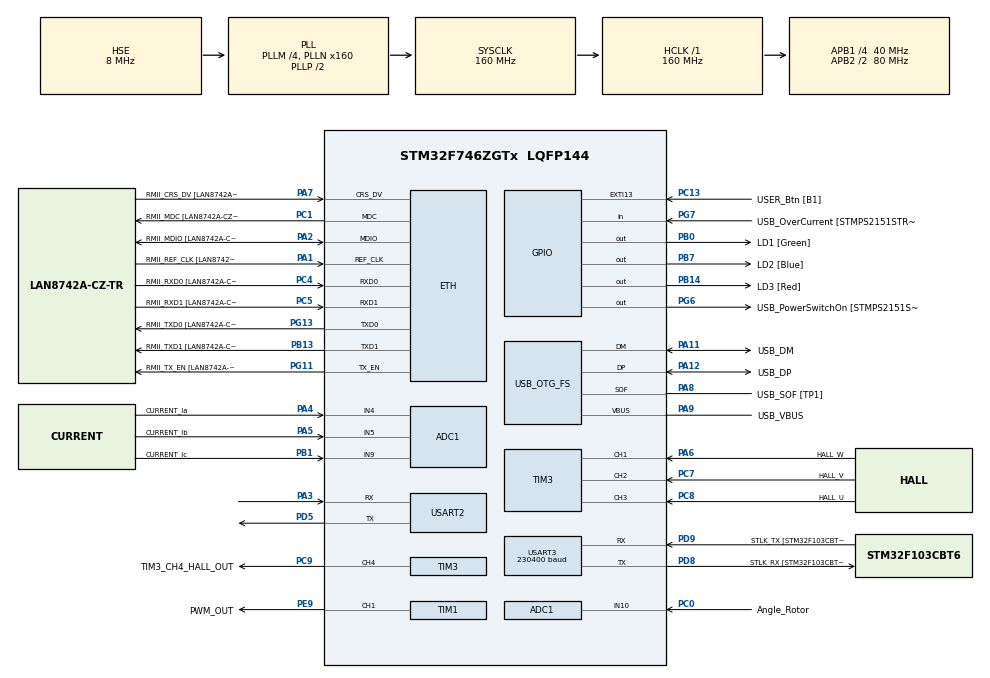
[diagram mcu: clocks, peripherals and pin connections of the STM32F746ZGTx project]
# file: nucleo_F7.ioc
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ADC1.Channel-0\#ChannelRegularConversion=ADC_CHANNEL_4
ADC1.Channel-4\#ChannelRegularConversion=ADC_CHANNEL_5
ADC1.Channel-5\#ChannelRegularConversion=ADC_CHANNEL_9
ADC1.Channel-6\#ChannelRegularConversion=ADC_CHANNEL_10
ADC1.ContinuousConvMode=DISABLE
ADC1.DMAContinuousRequests=ENABLE
ADC1.EOCSelection=ADC_EOC_SEQ_CONV
ADC1.ExternalTrigConv=ADC_EXTERNALTRIGCONV_T1_TRGO
ADC1.ExternalTrigConvEdge=ADC_EXTERNALTRIGCONVEDGE_RISINGFALLING
ADC1.NbrOfConversion=4
ADC1.NbrOfConversionFlag=1
ADC1.Rank-0\#ChannelRegularConversion=1
ADC1.Rank-4\#ChannelRegularConversion=2
ADC1.Rank-5\#ChannelRegularConversion=3
ADC1.Rank-6\#ChannelRegularConversion=4
ADC1.SamplingTime-0\#ChannelRegularConversion=ADC_SAMPLETIME_56CYCLES
ADC1.SamplingTime-4\#ChannelRegularConversion=ADC_SAMPLETIME_56CYCLES
ADC1.SamplingTime-5\#ChannelRegularConversion=ADC_SAMPLETIME_56CYCLES
ADC1.SamplingTime-6\#ChannelRegularConversion=ADC_SAMPLETIME_56CYCLES
ADC1.ScanConvMode=ADC_SCAN_ENABLE
ADC1.master=1
ARM.CMSIS.5.6.0.CMSISJjDSP=Library
Dma.ADC1.0.Direction=DMA_PERIPH_TO_MEMORY
Dma.ADC1.0.FIFOMode=DMA_FIFOMODE_DISABLE
Dma.ADC1.0.Instance=DMA2_Stream0
Dma.ADC1.0.MemDataAlignment=DMA_MDATAALIGN_HALFWORD
Dma.ADC1.0.MemInc=DMA_MINC_ENABLE
Dma.ADC1.0.Mode=DMA_CIRCULAR
Dma.ADC1.0.PeriphDataAlignment=DMA_PDATAALIGN_HALFWORD
Dma.ADC1.0.PeriphInc=DMA_PINC_DISABLE
Dma.ADC1.0.Priority=DMA_PRIORITY_MEDIUM
Dma.Request0=ADC1
Dma.Request1=USART3_TX
Dma.Request2=USART2_TX
Dma.USART2_TX.2.Direction=DMA_MEMORY_TO_PERIPH
Dma.USART2_TX.2.FIFOMode=DMA_FIFOMODE_DISABLE
Dma.USART2_TX.2.Instance=DMA1_Stream6
Dma.USART2_TX.2.MemDataAlignment=DMA_MDATAALIGN_BYTE
Dma.USART2_TX.2.MemInc=DMA_MINC_ENABLE
Dma.USART2_TX.2.Mode=DMA_NORMAL
Dma.USART2_TX.2.PeriphDataAlignment=DMA_PDATAALIGN_BYTE
Dma.USART2_TX.2.PeriphInc=DMA_PINC_DISABLE
Dma.USART2_TX.2.Priority=DMA_PRIORITY_LOW
Dma.USART3_TX.1.Direction=DMA_MEMORY_TO_PERIPH
Dma.USART3_TX.1.FIFOMode=DMA_FIFOMODE_DISABLE
Dma.USART3_TX.1.Instance=DMA1_Stream3
Dma.USART3_TX.1.MemDataAlignment=DMA_MDATAALIGN_BYTE
Dma.USART3_TX.1.MemInc=DMA_MINC_ENABLE
Dma.USART3_TX.1.Mode=DMA_NORMAL
Dma.USART3_TX.1.PeriphDataAlignment=DMA_PDATAALIGN_BYTE
Dma.USART3_TX.1.PeriphInc=DMA_PINC_DISABLE
Dma.USART3_TX.1.Priority=DMA_PRIORITY_LOW
ETH.MediaInterface=ETH_MEDIA_INTERFACE_RMII
ETH.PHY_Name=LAN8742A_PHY_ADDRESS
ETH.PHY_Value=0
ETH.PhyAddress=0
Mcu.Family=STM32F7
Mcu.Name=STM32F746ZGTx
Mcu.Package=LQFP144
NVIC.ADC_IRQn=true\:1\:0\:true\:false\:true\:true\:true
NVIC.DMA1_Stream3_IRQn=true\:4\:0\:true\:false\:true\:false\:true
NVIC.DMA1_Stream6_IRQn=true\:0\:0\:false\:false\:true\:false\:true
NVIC.DMA2_Stream0_IRQn=true\:2\:0\:true\:false\:true\:false\:true
NVIC.EXTI15_10_IRQn=true\:10\:0\:true\:false\:true\:true\:true
NVIC.PriorityGroup=NVIC_PRIORITYGROUP_4
NVIC.TIM1_TRG_COM_TIM11_IRQn=true\:5\:0\:true\:false\:true\:true\:true
NVIC.TIM1_UP_TIM10_IRQn=true\:3\:0\:true\:false\:true\:true\:true
NVIC.USART2_IRQn=true\:8\:0\:true\:false\:true\:true\:true
NVIC.USART3_IRQn=true\:9\:0\:true\:false\:true\:true\:true
PA1.GPIO_Label=RMII_REF_CLK [LAN8742A-CZ-TR_REFCLK0]
PA1.Mode=RMII
PA1.Signal=ETH_REF_CLK
PA10.GPIO_Label=USB_ID
PA10.Signal=USB_OTG_FS_ID
PA11.GPIO_Label=USB_DM
PA11.Mode=Device_Only
PA11.Signal=USB_OTG_FS_DM
PA12.GPIO_Label=USB_DP
PA12.Mode=Device_Only
PA12.Signal=USB_OTG_FS_DP
PA13.GPIO_Label=TMS
PA13.Mode=Serial_Wire
PA13.Signal=SYS_JTMS-SWDIO
PA14.GPIO_Label=TCK
PA14.Mode=Serial_Wire
PA14.Signal=SYS_JTCK-SWCLK
PA2.GPIO_Label=RMII_MDIO [LAN8742A-CZ-TR_MDIO]
PA2.Mode=RMII
PA2.Signal=ETH_MDIO
PA3.Mode=Asynchronous
PA3.Signal=USART2_RX
PA4.GPIO_Label=CURRENT_Ia
PA4.Signal=ADCx_IN4
PA5.GPIO_Label=CURRENT_Ib
PA5.Signal=ADCx_IN5
PA6.GPIO_Label=HALL_W
PA6.GPIO_PuPd=GPIO_PULLUP
PA6.GPIO_Speed=GPIO_SPEED_FREQ_HIGH
PA6.Signal=S_TIM3_CH1
PA7.GPIO_Label=RMII_CRS_DV [LAN8742A-CZ-TR_CRS_DV]
PA7.Mode=RMII
PA7.Signal=ETH_CRS_DV
PA8.GPIO_Label=USB_SOF [TP1]
PA8.Mode=Activate_SOF_FS
PA8.Signal=USB_OTG_FS_SOF
PA9.GPIO_Label=USB_VBUS
PA9.Mode=Activate_VBUS
PA9.Signal=USB_OTG_FS_VBUS
PB0.GPIO_Label=LD1 [Green]
PB0.Signal=GPIO_Output
PB1.GPIO_Label=CURRENT_Ic
PB1.Signal=ADCx_IN9
PB13.GPIO_Label=RMII_TXD1 [LAN8742A-CZ-TR_TXD1]
PB13.Mode=RMII
PB13.Signal=ETH_TXD1
PB14.GPIO_Label=LD3 [Red]
PB14.Signal=GPIO_Output
PB3.GPIO_Label=SW0
PB3.Signal=SYS_JTDO-SWO
PB7.GPIO_Label=LD2 [Blue]
PB7.Signal=GPIO_Output
PC0.GPIO_Label=Angle_Rotor
PC0.Signal=ADCx_IN10
PC1.GPIO_Label=RMII_MDC [LAN8742A-CZ-TR_MDC]
PC1.Mode=RMII
PC1.Signal=ETH_MDC
PC13.GPIO_Label=USER_Btn [B1]
PC13.Signal=GPXTI13
PC14/OSC32_IN.Mode=LSE-External-Oscillator
PC14/OSC32_IN.Signal=RCC_OSC32_IN
PC15/OSC32_OUT.Mode=LSE-External-Oscillator
PC15/OSC32_OUT.Signal=RCC_OSC32_OUT
PC4.GPIO_Label=RMII_RXD0 [LAN8742A-CZ-TR_RXD0]
PC4.Mode=RMII
PC4.Signal=ETH_RXD0
PC5.GPIO_Label=RMII_RXD1 [LAN8742A-CZ-TR_RXD1]
PC5.Mode=RMII
PC5.Signal=ETH_RXD1
PC7.GPIO_Label=HALL_V
PC7.GPIO_PuPd=GPIO_PULLUP
PC7.GPIO_Speed=GPIO_SPEED_FREQ_HIGH
PC7.Signal=S_TIM3_CH2
PC8.GPIO_Label=HALL_U
PC8.GPIO_PuPd=GPIO_PULLUP
PC8.GPIO_Speed=GPIO_SPEED_FREQ_HIGH
PC8.Signal=S_TIM3_CH3
PC9.GPIO_Label=TIM3_CH4_HALL_OUT
PC9.GPIO_PuPd=GPIO_NOPULL
PC9.GPIO_Speed=GPIO_SPEED_FREQ_HIGH
PC9.Signal=S_TIM3_CH4
PD5.Mode=Asynchronous
PD5.Signal=USART2_TX
PD8.GPIO_Label=STLK_RX [STM32F103CBT6_PA3]
PD8.Mode=Asynchronous
PD8.Signal=USART3_TX
PD9.GPIO_Label=STLK_TX [STM32F103CBT6_PA2]
PD9.Mode=Asynchronous
PD9.Signal=USART3_RX
PE9.GPIO_Label=PWM_OUT
PE9.GPIO_PuPd=GPIO_PULLDOWN
PE9.GPIO_Speed=GPIO_SPEED_FREQ_VERY_HIGH
PE9.Signal=S_TIM1_CH1
PG11.GPIO_Label=RMII_TX_EN [LAN8742A-CZ-TR_TXEN]
PG11.Mode=RMII
PG11.Signal=ETH_TX_EN
PG13.GPIO_Label=RMII_TXD0 [LAN8742A-CZ-TR_TXD0]
PG13.Mode=RMII
PG13.Signal=ETH_TXD0
PG6.GPIO_Label=USB_PowerSwitchOn [STMPS2151STR_EN]
PG6.Signal=GPIO_Output
PG7.GPIO_Label=USB_OverCurrent [STMPS2151STR_FAULT]
PG7.Signal=GPIO_Input
PH0/OSC_IN.GPIO_Label=MCO [STM32F103CBT6_PA8]
PH0/OSC_IN.Mode=HSE-External-Clock-Source
PH0/OSC_IN.Signal=RCC_OSC_IN
PH1/OSC_OUT.Mode=HSE-External-Clock-Source
PH1/OSC_OUT.Signal=RCC_OSC_OUT
ProjectManager.HeapSize=0x200
ProjectManager.StackSize=0x400
ProjectManager.TargetToolchain=STM32CubeIDE
RCC.48MHZClocksFreq_Value=24000000
RCC.AHBFreq_Value=160000000
RCC.APB1CLKDivider=RCC_HCLK_DIV4
RCC.APB1Freq_Value=40000000
RCC.APB1TimFreq_Value=80000000
RCC.APB2CLKDivider=RCC_HCLK_DIV2
RCC.APB2Freq_Value=80000000
RCC.APB2TimFreq_Value=160000000
RCC.CortexFreq_Value=160000000
RCC.HCLKFreq_Value=160000000
RCC.HSE_VALUE=8000000
RCC.HSI_VALUE=16000000
RCC.PLL48CLockSelection=RCC_CLK48SOURCE_PLLSAIP
RCC.PLLM=4
RCC.PLLMUL=RCC_PLL_MUL9
RCC.PLLN=160
RCC.PLLQ=9
RCC.PLLSAIP=RCC_PLLSAIP_DIV8
RCC.PRESCALERUSB=RCC_USBCLKSOURCE_PLL_DIV1_5
RCC.SYSCLKFreq_VALUE=160000000
RCC.SYSCLKSource=RCC_SYSCLKSOURCE_PLLCLK
RCC.SYSCLKSourceVirtual=RCC_SYSCLKSOURCE_PLLCLK
RCC.USART2CLockSelection=RCC_USART2CLKSOURCE_SYSCLK
RCC.USART3CLockSelection=RCC_USART3CLKSOURCE_SYSCLK
RCC.USBFreq_Value=48000000
RCC.VCOOutputFreq_Value=320000000
SH.ADCx_IN10.0=ADC1_IN10,IN10
SH.ADCx_IN4.0=ADC1_IN4,IN4
SH.ADCx_IN5.0=ADC1_IN5,IN5
SH.ADCx_IN9.0=ADC1_IN9,IN9
SH.S_TIM1_CH1.0=TIM1_CH1,PWM Generation1 CH1
SH.S_TIM3_CH1.0=TIM3_CH1,Xored_Inputs_Hall_Sensor_Interface
SH.S_TIM3_CH2.0=TIM3_CH2,Xored_Inputs_Hall_Sensor_Interface
SH.S_TIM3_CH3.0=TIM3_CH3,Xored_Inputs_Hall_Sensor_Interface
SH.S_TIM3_CH4.0=TIM3_CH4,Output Compare4 CH4
TIM1.Channel-PWM\ Generation1\ CH1=TIM_CHANNEL_1
TIM1.CounterMode=TIM_COUNTERMODE_CENTERALIGNED1
TIM1.RepetitionCounter=1
TIM1.TIM_MasterOutputTrigger=TIM_TRGO_UPDATE
TIM3.Channel-Output\ Compare4\ CH4=TIM_CHANNEL_4
TIM3.OCMode_4=TIM_OCMODE_TOGGLE
USART2.VirtualMode-Asynchronous=VM_ASYNC
USART3.BaudRate=230400
USART3.VirtualMode-Asynchronous=VM_ASYNC
USB_OTG_FS.VirtualMode=Device_Only
VP_ARM.CMSIS_VS_CMSISJjDSP_1.7.0.Mode=CMSISJjDSP
VP_TIM1_VS_ClockSourceINT.Mode=Internal
VP_TIM1_VS_ClockSourceITR.Mode=TriggerSource_ITR2
VP_TIM3_VS_ClockSourceINT.Mode=Internal
board=NUCLEO-F746ZG

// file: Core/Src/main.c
/* USER CODE BEGIN Header */
/**
  ******************************************************************************
  * @file           : main.c
  * @brief          : Main program body
  ******************************************************************************
  * @attention
  *
  * <h2><center>&copy; Copyright (c) 2020 STMicroelectronics.
  * All rights reserved.</center></h2>
  *
  * This software component is licensed by ST under BSD 3-Clause license,
  * the "License"; You may not use this file except in compliance with the
  * License. You may obtain a copy of the License at:
  *                        opensource.org/licenses/BSD-3-Clause
  *
  ******************************************************************************
  */
/* USER CODE END Header */

#include "main.h"
#include "adc.h"
#include "dma.h"
#include "eth.h"
#include "tim.h"
#include "usart.h"
#include "usb_otg.h"
#include "gpio.h"

/* USER CODE BEGIN Includes */
#include "arm_math.h"
#include "stdio.h"
#include "stdio_ext.h"
#include "stdlib.h"

/* USER CODE END Includes */

/* USER CODE BEGIN PD */
 #define max(a,b) \
   ({ __typeof__ (a) _a = (a); \
       __typeof__ (b) _b = (b); \
     _a > _b ? _a : _b; })

#define limit_H_ARR 11250
#define limit_H_current 500
#define limit_L 0
#define size 2000
#define ilosc_probek 12
#define limit_probek_pradu 10

/* USER CODE END PD */

/* USER CODE BEGIN PV */

volatile float32_t Ialpha, Ibeta,e,out,priv,Ia,Ib,Ic, theta_mech,theta_el,sinVal,cosVal,pId,pIq;
volatile float32_t okres_COM,speed, sum_speed, average_speed, speed_tab[ilosc_probek];

volatile uint8_t trans,recive,limit_c,allow_c;
volatile int16_t pomiar[4], set_point,pomiar_zero[3],pomiar_zero1[3];
volatile arm_pid_instance_f32 pid;

uint8_t allow=0;
uint8_t f,g=0;
uint8_t d=(ilosc_probek-1);
uint16_t licz,i,a,b,c,z;

volatile char tablica[size][18];

/* USER CODE END PV */

void SystemClock_Config(void);
/* USER CODE BEGIN PFP */

void HAL_TIM_PeriodElapsedCallback(TIM_HandleTypeDef *htim)
{
	if(htim->Instance==TIM1)
		{

/**

        if((i+size)<(size+size))
         {
		    sprintf(tablica[i], "%.4f+j*%.4f\n", Ialpha, Ibeta);
		    i++;

         }
         **/

		}

}

void HAL_TIMEx_CommutCallback(TIM_HandleTypeDef *htim)
{
	if(htim->Instance==TIM1)
		{
	   /// TIM3 CLK 80 MHz, PSC =499,  80MGz/(PSC+1)*(TIM1->CCR1+1)
		/// 80 000 000/ 500 = 160 000 Hz
		/// T 1/160000 = 0,000000625
		okres_COM=	0.00000625 * TIM3->CCR1;
		// speed = 60 * 1/(12*okres_COM) [obr/min]
		speed=5 / okres_COM;

		speed_tab[0]=okres_COM;

/**		while (d>0)
		{
			speed_tab[d]=speed_tab[d-1];
			d--;
		}
		d=(ilosc_probek-1);

		if(g<ilosc_probek)
			g++;

		else
			g=ilosc_probek;

		f=0;
		while(f<g)
		{
			sum_speed=sum_speed + speed_tab[f];
			f++;

		}

		average_speed= 5 / (sum_speed/(f+1));

		sum_speed=0;
**/
		}

}

void HAL_UART_RxCpltCallback(UART_HandleTypeDef *huart)
{
	if(huart->Instance==USART3)
	{
		HAL_UART_Receive_IT(&huart3, &recive, 1);
	}
}

void HAL_GPIO_EXTI_Callback(uint16_t GPIO_Pin)
{
	if(GPIO_Pin==GPIO_PIN_13)
	{

  HAL_UART_Transmit_IT(&huart2, 'a', 1 );
	/**	HAL_TIMEx_HallSensor_Stop(&htim3);
		HAL_TIM_Base_Stop_IT(&htim1);
		HAL_TIM_PWM_Stop_IT(&htim1, TIM_CHANNEL_1);
		HAL_ADC_Stop_DMA(&hadc1);

		allow=1;
		**/

	}

}

void   HAL_ADC_ConvCpltCallback(ADC_HandleTypeDef* hadc)
{

				if(limit_c<limit_probek_pradu)
				{
					pomiar_zero[0]+=pomiar[0];
					pomiar_zero[1]+=pomiar[1];
					pomiar_zero[2]+=pomiar[2];
					limit_c++;

				}

				else
				{
					pomiar_zero1[0]=pomiar_zero[0]/limit_c;
					pomiar_zero1[1]=pomiar_zero[1]/limit_c;
					pomiar_zero1[2]=pomiar_zero[2]/limit_c;
					allow_c=1;

				}

				if(allow_c>0)
				{

				Ia=(pomiar[0]-pomiar_zero1[0]) * 0.0044;  // 2.5 v / 3.6 v x 4095 = 2843
			    Ib=(pomiar[1]-pomiar_zero1[0]) * 0.0044;  // 3.3/4095 * 1/0.185 [v/a] == 0,00435 A
			    Ic=(pomiar[2]-pomiar_zero1[0]) * 0.0044;
			    theta_mech=((int16_t)(pomiar[3] * 0.1758));  // 720/4096 =0,17578
			   // theta_mech=theta_mech+30;
			    if (theta_mech<360)
			    {
			    	theta_el=theta_mech;
			    }
			    else
			    {
			    	theta_el=(theta_mech)-360;
			    }

			    arm_clarke_f32(Ia, Ib, &Ialpha, &Ibeta);
			    arm_sin_cos_f32(theta_el, &sinVal, &cosVal);
			    arm_park_f32(Ialpha, Ibeta, &pId, &pIq, sinVal, cosVal);

				}

/**
				set_point=recive;
				priv=pid.state[2];
				e=set_point-current;
				out=arm_pid_f32(&pid, e);

				if(out>limit_H_current)
						{

							pid.state[2]=priv;
							out=limit_H_current;
						}

				if(out<limit_L)
						{
							pid.state[2]=priv;
							out=limit_L;

						}

**/

}

/* USER CODE END PFP */

int main(void)
{

  /* MCU Configuration--------------------------------------------------------*/

  /* Reset of all peripherals, Initializes the Flash interface and the Systick. */
  HAL_Init();

  /* Configure the system clock */
  SystemClock_Config();

  /* Initialize all configured peripherals */
  MX_GPIO_Init();
  MX_DMA_Init();
  MX_ETH_Init();
  MX_USART3_UART_Init();
  MX_USB_OTG_FS_PCD_Init();
  MX_TIM3_Init();
  MX_USART2_UART_Init();
  MX_ADC1_Init();
  MX_TIM1_Init();
  /* USER CODE BEGIN 2 */

  ////////konfiguracja USART ///////////
//  HAL_UART_Receive_IT(&huart3, &recive, 1);

  //////// konfiguracja Timer 1  ////////////
   TIM1->ARR=30000;  // !! ARR = PWM_PERIOD/2
   TIM1->PSC=0;
   TIM1->CCR1=12000;   // TIM1-CCR1 = CCR/2
   HAL_TIM_Base_Start_IT(&htim1);
   HAL_TIM_PWM_Start_IT(&htim1, TIM_CHANNEL_1);
   HAL_TIMEx_ConfigCommutEvent_IT(&htim1,TIM_TS_ITR2, TIM_COMMUTATION_TRGI);

   //////// konfiguracja Timer 3  ////////////
    TIM3->ARR=0xFFFE;
    TIM3->PSC=499;
    TIM3->CCR2=1;
    TIM3->CCR4=1;
    HAL_TIMEx_HallSensor_Start(&htim3);
    //HAL_TIM_Base_Start(&htim3);
    //HAL_TIM_OC_Start(&htim3, TIM_CHANNEL_4);

 /////////// inicjalizacja pid ////////////////
    pid.Kp=1;
    pid.Ki=5;
    pid.Kd=0;
    arm_pid_init_f32(&pid, 1);

    //////// konfiguracja ADC  ////////////
     HAL_ADC_Start_DMA(&hadc1,pomiar,4);

  /* USER CODE END 2 */

  /* Infinite loop */
  /* USER CODE BEGIN WHILE */
  while (1)
  {

	  if(HAL_GPIO_ReadPin(GPIOA, GPIO_PIN_6))
		  a=1;
	  else
		  a=0;

	  if(HAL_GPIO_ReadPin(GPIOC, GPIO_PIN_7))
	  		  b=1;
	  else
		  b=0;

	  if(HAL_GPIO_ReadPin(GPIOC, GPIO_PIN_8))
	  		  c=1;
	  else
		  c=0;

/**	  if(allow)
	  {

	  if(licz<size)
	  {
	if( HAL_OK== HAL_UART_Transmit_DMA(&huart3, tablica[licz], strlen(tablica[licz])))
	  licz++;

	  }

	  }
	  **/

    /* USER CODE END WHILE */

  }
}

void SystemClock_Config(void)
{
  RCC_OscInitTypeDef RCC_OscInitStruct = {0};
  RCC_ClkInitTypeDef RCC_ClkInitStruct = {0};
  RCC_PeriphCLKInitTypeDef PeriphClkInitStruct = {0};

  /** Configure LSE Drive Capability
  */
  HAL_PWR_EnableBkUpAccess();
  /** Configure the main internal regulator output voltage
  */
  __HAL_RCC_PWR_CLK_ENABLE();
  __HAL_PWR_VOLTAGESCALING_CONFIG(PWR_REGULATOR_VOLTAGE_SCALE2);
  /** Initializes the CPU, AHB and APB busses clocks
  */
  RCC_OscInitStruct.OscillatorType = RCC_OSCILLATORTYPE_HSE;
  RCC_OscInitStruct.HSEState = RCC_HSE_BYPASS;
  RCC_OscInitStruct.PLL.PLLState = RCC_PLL_ON;
  RCC_OscInitStruct.PLL.PLLSource = RCC_PLLSOURCE_HSE;
  RCC_OscInitStruct.PLL.PLLM = 4;
  RCC_OscInitStruct.PLL.PLLN = 160;
  RCC_OscInitStruct.PLL.PLLP = RCC_PLLP_DIV2;
  RCC_OscInitStruct.PLL.PLLQ = 9;
  if (HAL_RCC_OscConfig(&RCC_OscInitStruct) != HAL_OK)
  {
    Error_Handler();
  }
  /** Initializes the CPU, AHB and APB busses clocks
  */
  RCC_ClkInitStruct.ClockType = RCC_CLOCKTYPE_HCLK|RCC_CLOCKTYPE_SYSCLK
                              |RCC_CLOCKTYPE_PCLK1|RCC_CLOCKTYPE_PCLK2;
  RCC_ClkInitStruct.SYSCLKSource = RCC_SYSCLKSOURCE_PLLCLK;
  RCC_ClkInitStruct.AHBCLKDivider = RCC_SYSCLK_DIV1;
  RCC_ClkInitStruct.APB1CLKDivider = RCC_HCLK_DIV4;
  RCC_ClkInitStruct.APB2CLKDivider = RCC_HCLK_DIV2;

  if (HAL_RCC_ClockConfig(&RCC_ClkInitStruct, FLASH_LATENCY_5) != HAL_OK)
  {
    Error_Handler();
  }
  PeriphClkInitStruct.PeriphClockSelection = RCC_PERIPHCLK_USART2|RCC_PERIPHCLK_USART3
                              |RCC_PERIPHCLK_CLK48;
  PeriphClkInitStruct.PLLSAI.PLLSAIN = 192;
  PeriphClkInitStruct.PLLSAI.PLLSAIR = 2;
  PeriphClkInitStruct.PLLSAI.PLLSAIQ = 2;
  PeriphClkInitStruct.PLLSAI.PLLSAIP = RCC_PLLSAIP_DIV8;
  PeriphClkInitStruct.PLLSAIDivQ = 1;
  PeriphClkInitStruct.PLLSAIDivR = RCC_PLLSAIDIVR_2;
  PeriphClkInitStruct.Usart2ClockSelection = RCC_USART2CLKSOURCE_SYSCLK;
  PeriphClkInitStruct.Usart3ClockSelection = RCC_USART3CLKSOURCE_SYSCLK;
  PeriphClkInitStruct.Clk48ClockSelection = RCC_CLK48SOURCE_PLLSAIP;
  if (HAL_RCCEx_PeriphCLKConfig(&PeriphClkInitStruct) != HAL_OK)
  {
    Error_Handler();
  }
}

void Error_Handler(void)
{
}

/************************ (C) COPYRIGHT STMicroelectronics *****END OF FILE****/
